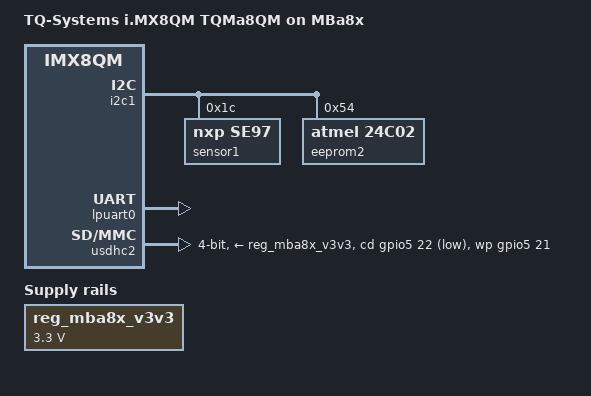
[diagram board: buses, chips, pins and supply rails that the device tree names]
// SPDX-License-Identifier: GPL-2.0-or-later OR MIT
/*
 * Copyright 2018 - 2020 TQ-Systems GmbH
 */

/dts-v1/;

#include "imx8qm-tqma8qm.dtsi"

/ {
	model = "TQ-Systems i.MX8QM TQMa8QM on MBa8x";
	compatible = "tq,imx8qm-mba8x", "tq,imx8qm-tqma8qm", "fsl,imx8qm";

	chosen {
		bootargs = "console=ttyLP0,115200 earlycon";
		stdout-path = &lpuart0;
	};

	reg_mba8x_v3v3: mba8x_v3v3 {
		compatible = "regulator-fixed";
		regulator-name = "MBa8x-V3V3";
		regulator-min-microvolt = <3300000>;
		regulator-max-microvolt = <3300000>;
		regulator-always-on;
	};
};

&iomuxc {
	pinctrl-names = "default";
	pinctrl-0 = <&pinctrl_hog &pinctrl_pin_gpio>;

	pinctrl_hog: hoggrp {
		fsl,pins = <
			/* USB HUB RST */
			SC_P_ESAI1_SCKT_LSIO_GPIO2_IO07			0x00000021
			/* USB OTG PWR */
			SC_P_USB_SS3_TC1_LSIO_GPIO4_IO04		0x00000021
			/* SWITCH_A# */
			SC_P_ESAI1_TX3_RX2_LSIO_GPIO2_IO11		0x00000021
			/* SWITCH_B# */
			SC_P_SCU_GPIO0_04_LSIO_GPIO1_IO00		0x00000021
			/* USER_LED1 */
			SC_P_USDHC1_DATA4_LSIO_GPIO5_IO19		0x00000021
			/* USER_LED0 */
			SC_P_USDHC1_DATA5_LSIO_GPIO5_IO20		0x00000021
			/* PCIE_CLK_PD# */
			SC_P_ESAI1_TX2_RX3_LSIO_GPIO2_IO10		0x00000021
			/* EN_3V3_MPCIE */
			SC_P_SCU_GPIO0_05_LSIO_GPIO1_IO01		0x00000021
			/* EN_1V5_MPCIE */
			SC_P_SCU_GPIO0_03_LSIO_GPIO0_IO31		0x00000021
			/* PCIE0_CLKREQ# */
			SC_P_PCIE_CTRL0_CLKREQ_B_LSIO_GPIO4_IO27	0x00000041
			/* PCIE0_PERST# */
			SC_P_PCIE_CTRL0_PERST_B_LSIO_GPIO4_IO29		0x00000041
			/* PCIE0_WAKE# */
			SC_P_PCIE_CTRL0_WAKE_B_LSIO_GPIO4_IO28		0x00000041
			/* PCIE_DISABLE# */
			SC_P_ESAI1_FST_LSIO_GPIO2_IO05			0x00000021
			/* PCIE1_CLKREQ# */
			SC_P_PCIE_CTRL1_CLKREQ_B_LSIO_GPIO4_IO30	0x00000041
			/* PCIE1_PERST# */
			SC_P_PCIE_CTRL1_PERST_B_LSIO_GPIO5_IO00		0x00000041
			/* PCIE1_WAKE# */
			SC_P_PCIE_CTRL1_WAKE_B_LSIO_GPIO4_IO31		0x00000041
		>;
	};

	pinctrl_pin_gpio: pingpiogrp {
		fsl,pins = <
			/* GPIO0_05 on X62:26 */
			SC_P_SIM0_GPIO0_00_LSIO_GPIO0_IO05	0x00000021
			/* GPIO1_14 on X64:21 */
			SC_P_LVDS1_I2C1_SCL_LSIO_GPIO1_IO14	0x00000021
			/* GPIO1_15 on X64:23 */
			SC_P_LVDS1_I2C1_SDA_LSIO_GPIO1_IO15	0x00000021
			/* GPIO2_17 on X63:37 */
			SC_P_SPI3_SCK_LSIO_GPIO2_IO17		0x00000021
			/* GPIO2_21 on X63:39 */
			SC_P_SPI3_CS1_LSIO_GPIO2_IO21		0x00000021
			/* GPIO4_12 on X61:24 */
			SC_P_USDHC2_CD_B_LSIO_GPIO4_IO12	0x00000021
			/* GPIO4_11 on X61:26 */
			SC_P_USDHC2_WP_LSIO_GPIO4_IO11		0x00000021
			/* GPIO4_10 on X61:28 */
			SC_P_USDHC2_VSELECT_LSIO_GPIO4_IO10	0x00000021
			/* GPIO4_09 on X61:30 */
			SC_P_USDHC2_RESET_B_LSIO_GPIO4_IO09	0x00000021
			/* GPIO4_07 on X62:22 */
			SC_P_USDHC1_RESET_B_LSIO_GPIO4_IO07	0x00000021
			/* GPIO5_23 on X62:24 */
			SC_P_USDHC1_STROBE_LSIO_GPIO5_IO23	0x00000021
			/* GPIO5_24 on X61:15 */
			SC_P_USDHC2_CLK_LSIO_GPIO5_IO24		0x00000021
			/* GPIO5_25 on X61:17 */
			SC_P_USDHC2_CMD_LSIO_GPIO5_IO25		0x00000021
			/* GPIO5_26 on X61:19 */
			SC_P_USDHC2_DATA0_LSIO_GPIO5_IO26	0x00000021
			/* GPIO5_27 on X61:21 */
			SC_P_USDHC2_DATA1_LSIO_GPIO5_IO27	0x00000021
			/* GPIO5_28 on X61:23 */
			SC_P_USDHC2_DATA2_LSIO_GPIO5_IO28	0x00000021
			/* GPIO5_29 on X61:25 */
			SC_P_USDHC2_DATA3_LSIO_GPIO5_IO29	0x00000021
		>;
	};

	pinctrl_lpuart0: lpuart0grp {
		fsl,pins = <
			SC_P_UART0_RX_DMA_UART0_RX		0x06000021
			SC_P_UART0_TX_DMA_UART0_TX		0x06000021
			SC_P_UART0_CTS_B_DMA_UART0_CTS_B	0x00000021
			SC_P_UART0_RTS_B_DMA_UART0_RTS_B	0x00000021
		>;
	};

	pinctrl_usdhc2_gpio: usdhc2grpgpio {
		fsl,pins = <
			SC_P_USDHC1_DATA6_LSIO_GPIO5_IO21	0x00000021
			SC_P_USDHC1_DATA7_LSIO_GPIO5_IO22	0x00000021
			SC_P_USDHC1_RESET_B_LSIO_GPIO4_IO07	0x00000021
		>;
	};

	pinctrl_usdhc2: usdhc2grp {
		fsl,pins = <
			SC_P_USDHC1_CLK_CONN_USDHC1_CLK		0x06000041
			SC_P_USDHC1_CMD_CONN_USDHC1_CMD		0x00000021
			SC_P_USDHC1_DATA0_CONN_USDHC1_DATA0	0x00000021
			SC_P_USDHC1_DATA1_CONN_USDHC1_DATA1	0x00000021
			SC_P_USDHC1_DATA2_CONN_USDHC1_DATA2	0x00000021
			SC_P_USDHC1_DATA3_CONN_USDHC1_DATA3	0x00000021
			SC_P_USDHC1_VSELECT_CONN_USDHC1_VSELECT	0x00000021
		>;
	};

	pinctrl_usdhc2_100mhz: usdhc2grp100mhz {
		fsl,pins = <
			SC_P_USDHC1_CLK_CONN_USDHC1_CLK		0x06000040
			SC_P_USDHC1_CMD_CONN_USDHC1_CMD		0x00000021
			SC_P_USDHC1_DATA0_CONN_USDHC1_DATA0	0x00000021
			SC_P_USDHC1_DATA1_CONN_USDHC1_DATA1	0x00000021
			SC_P_USDHC1_DATA2_CONN_USDHC1_DATA2	0x00000021
			SC_P_USDHC1_DATA3_CONN_USDHC1_DATA3	0x00000021
			SC_P_USDHC1_VSELECT_CONN_USDHC1_VSELECT	0x00000020
		>;
	};

	pinctrl_usdhc2_200mhz: usdhc2grp200mhz {
		fsl,pins = <
			SC_P_USDHC1_CLK_CONN_USDHC1_CLK		0x06000040
			SC_P_USDHC1_CMD_CONN_USDHC1_CMD		0x00000021
			SC_P_USDHC1_DATA0_CONN_USDHC1_DATA0	0x00000021
			SC_P_USDHC1_DATA1_CONN_USDHC1_DATA1	0x00000021
			SC_P_USDHC1_DATA2_CONN_USDHC1_DATA2	0x00000021
			SC_P_USDHC1_DATA3_CONN_USDHC1_DATA3	0x00000021
			SC_P_USDHC1_VSELECT_CONN_USDHC1_VSELECT	0x00000020
		>;
	};
};

&i2c1 {
	sensor1: jc42@1c {
		compatible = "nxp,se97", "jedec,jc-42.4-temp";
		reg = <0x1c>;
		status = "okay";
	};

	eeprom2: 24c02@54 {
		compatible = "atmel,24c02";
		reg = <0x54>;
		pagesize = <16>;
		status = "okay";
	};
};

&lpuart0 {
	pinctrl-names = "default";
	pinctrl-0 = <&pinctrl_lpuart0>;
	status = "okay";
};

&usdhc2 {
	pinctrl-names = "default", "state_100mhz", "state_200mhz";
	pinctrl-0 = <&pinctrl_usdhc2>, <&pinctrl_usdhc2_gpio>;
	pinctrl-1 = <&pinctrl_usdhc2_100mhz>, <&pinctrl_usdhc2_gpio>;
	pinctrl-2 = <&pinctrl_usdhc2_200mhz>, <&pinctrl_usdhc2_gpio>;
	bus-width = <4>;
	cd-gpios = <&gpio5 22 GPIO_ACTIVE_LOW>;
	wp-gpios = <&gpio5 21 GPIO_ACTIVE_HIGH>;
	vmmc-supply = <&reg_mba8x_v3v3>;
	no-mmc;
	no-1-8-v;
	status = "okay";
};
